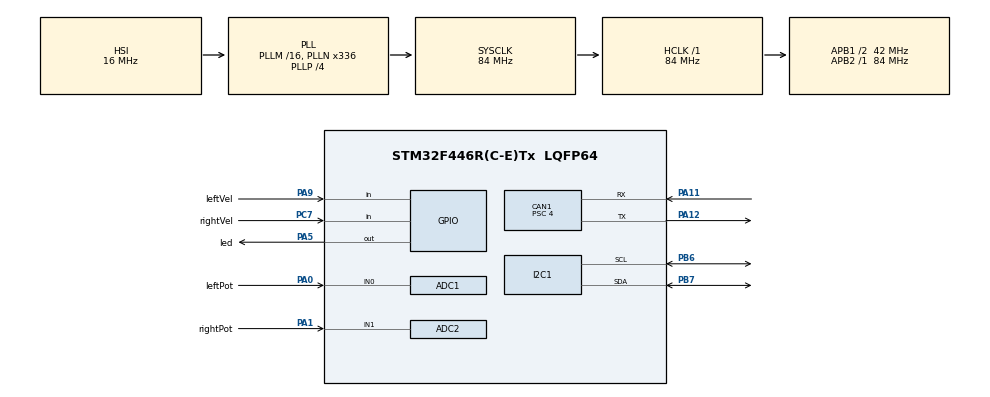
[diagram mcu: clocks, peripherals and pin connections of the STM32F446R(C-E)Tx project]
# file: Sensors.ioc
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ADC1.Channel-0\#ChannelRegularConversion=ADC_CHANNEL_0
ADC1.NbrOfConversionFlag=1
ADC1.Rank-0\#ChannelRegularConversion=1
ADC1.SamplingTime-0\#ChannelRegularConversion=ADC_SAMPLETIME_3CYCLES
ADC1.master=1
ADC2.Channel-0\#ChannelRegularConversion=ADC_CHANNEL_1
ADC2.NbrOfConversionFlag=1
ADC2.Rank-0\#ChannelRegularConversion=1
ADC2.SamplingTime-0\#ChannelRegularConversion=ADC_SAMPLETIME_3CYCLES
CAN1.BS1=CAN_BS1_16TQ
CAN1.BS2=CAN_BS2_4TQ
CAN1.CalculateBaudRate=500000
CAN1.CalculateTimeBit=2000
CAN1.CalculateTimeQuantum=95.23809523809524
CAN1.Prescaler=4
I2C1.I2C_Mode=I2C_Fast
Mcu.Family=STM32F4
Mcu.Name=STM32F446R(C-E)Tx
Mcu.Package=LQFP64
NVIC.CAN1_RX0_IRQn=true\:0\:0\:false\:false\:true\:true\:true\:true
NVIC.PriorityGroup=NVIC_PRIORITYGROUP_0
PA0-WKUP.GPIO_Label=leftPot
PA0-WKUP.Signal=ADCx_IN0
PA1.GPIO_Label=rightPot
PA1.Signal=ADCx_IN1
PA11.Mode=CAN_Activate
PA11.Signal=CAN1_RX
PA12.Mode=CAN_Activate
PA12.Signal=CAN1_TX
PA5.GPIO_Label=led
PA5.Signal=GPIO_Output
PA9.GPIO_Label=leftVel
PA9.Signal=GPIO_Input
PB6.GPIO_Pu=GPIO_PULLUP
PB6.Mode=I2C
PB6.Signal=I2C1_SCL
PB7.GPIO_Pu=GPIO_PULLUP
PB7.Mode=I2C
PB7.Signal=I2C1_SDA
PC7.GPIO_Label=rightVel
PC7.Signal=GPIO_Input
ProjectManager.HeapSize=0x200
ProjectManager.StackSize=0x400
ProjectManager.TargetToolchain=STM32CubeIDE
RCC.48MHZClocksFreq_Value=84000000
RCC.AHBFreq_Value=84000000
RCC.APB1CLKDivider=RCC_HCLK_DIV2
RCC.APB1Freq_Value=42000000
RCC.APB1TimFreq_Value=84000000
RCC.APB2Freq_Value=84000000
RCC.APB2TimFreq_Value=84000000
RCC.CortexFreq_Value=84000000
RCC.FLatency-AdvancedSettings=FLASH_LATENCY_2
RCC.HCLKFreq_Value=84000000
RCC.HSE_VALUE=8000000
RCC.HSI_VALUE=16000000
RCC.PLLN=336
RCC.PLLP=RCC_PLLP_DIV4
RCC.SYSCLKFreq_VALUE=84000000
RCC.SYSCLKSource=RCC_SYSCLKSOURCE_PLLCLK
RCC.USBFreq_Value=168000000
RCC.VCOOutputFreq_Value=336000000
SH.ADCx_IN0.0=ADC1_IN0,IN0
SH.ADCx_IN1.0=ADC2_IN1,IN1
board=NUCLEO-F446RE

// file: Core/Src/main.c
/* USER CODE BEGIN Header */
/**
  ******************************************************************************
  * @file           : main.c
  * @brief          : Main program body
  ******************************************************************************
  * @attention
  *
  * Copyright (c) 2023 STMicroelectronics.
  * All rights reserved.
  *
  * This software is licensed under terms that can be found in the LICENSE file
  * in the root directory of this software component.
  * If no LICENSE file comes with this software, it is provided AS-IS.
  *
  ******************************************************************************
  */
/* USER CODE END Header */
#include "main.h"

/* USER CODE BEGIN PD */
/*I2C address of Gyro Module*/
#define gyroAddr 0b11010000

/*NB Low First Byte in received data*/

/*CAN IDs*/
#define BUFFER_BLOCK1	0x101
#define BUFFER_BLOCK2	0x102
#define BUFFER_BLOCK3	0x103

#define GPS_BLOCK1		0x104
#define GPS_BLOCK2		0x105
#define GPS_BLOCK3		0x106

#define GYRO_BLOCK1		0x107
#define GYRO_BLOCK2		0x108

#define FWHEEL_BLOCK1	0x109
#define FWHEEL_BLOCK2	0x110

#define RWHEEL_BLOCK1	0x111
#define RWHEEL_BLOCK2	0x112

/* USER CODE END PD */

ADC_HandleTypeDef hadc1;
ADC_HandleTypeDef hadc2;

CAN_HandleTypeDef hcan1;

I2C_HandleTypeDef hi2c1;

/* USER CODE BEGIN PV */
//GYRO variables
uint8_t accelData[6];
uint8_t gyroData[6];

//CAN variables
CAN_RxHeaderTypeDef receiveHeader;
CAN_TxHeaderTypeDef transmitHeader;
CAN_FilterTypeDef sFilter;
CAN_FilterTypeDef sFilter2;
uint8_t can_received_data[8];
uint8_t can_tx_payload[8];
uint32_t mailbox;

//Pot variables
uint16_t left_pot=0;
uint16_t right_pot=0;

//Steering Encoder
uint8_t steeringEncoder=0;				//TO-DO

//TIMING variables
uint32_t currTime = 0;
uint32_t lastTime = 0;

//Vel variables
uint16_t left_count=0;
uint8_t left_status=0;
uint16_t right_count=0;
uint8_t right_status=0;
uint8_t deltaT=0;
uint32_t startTime=0;
uint8_t resetStartTime=0;
/* USER CODE END PV */

void SystemClock_Config(void);
static void MX_GPIO_Init(void);
static void MX_CAN1_Init(void);
static void MX_ADC1_Init(void);
static void MX_ADC2_Init(void);
static void MX_I2C1_Init(void);
/* USER CODE BEGIN PFP */
void filterSettings(void);
/* USER CODE END PFP */

int main(void)
{

  /* MCU Configuration--------------------------------------------------------*/

  /* Reset of all peripherals, Initializes the Flash interface and the Systick. */
  HAL_Init();

  /* Configure the system clock */
  SystemClock_Config();

  /* Initialize all configured peripherals */
  MX_GPIO_Init();
  MX_CAN1_Init();
  MX_ADC1_Init();
  MX_ADC2_Init();
  MX_I2C1_Init();
  /* USER CODE BEGIN 2 */

  /*Set Filter*/
    filterSettings();

    HAL_CAN_Start(&hcan1);

    /*Enable interrupt*/
    HAL_CAN_ActivateNotification(&hcan1,CAN_IT_RX_FIFO0_MSG_PENDING);

    /*Set transmitHeader fields*/
    transmitHeader.StdId=FWHEEL_BLOCK1;
    transmitHeader.ExtId = 0x01;
    transmitHeader.IDE = CAN_ID_STD;
    transmitHeader.RTR = CAN_RTR_DATA;
    transmitHeader.TransmitGlobalTime = DISABLE;

    /*I2C Settings*/
    if(HAL_I2C_IsDeviceReady(&hi2c1, gyroAddr, 10, 1000)==HAL_OK); //hi2c, DevAddress, Trials, Timeout

    uint8_t accelReg = 0x3B;
    uint8_t gyroReg = 0x43;

    /*Wake up module*/
    uint8_t wakeUp[2];
    wakeUp[0] = 0x6B;
    wakeUp[1] = 0x00;

    /*setup accel scale*/
    uint8_t setAccelReg[2];
    setAccelReg[0]=0x1C;
    setAccelReg[1]=0b00001000;		//set accel to 4g

    if(HAL_I2C_Master_Transmit(&hi2c1, gyroAddr, wakeUp, sizeof(wakeUp), 1000)!=HAL_OK);
    if(HAL_I2C_Master_Transmit(&hi2c1, gyroAddr, setAccelReg, sizeof(setAccelReg), 1000)!=HAL_OK);

    currTime=HAL_GetTick();
  /* USER CODE END 2 */

  /* Infinite loop */
  /* USER CODE BEGIN WHILE */
  while (1)
  {
	  /*Read Pot data every 10ms*/
	  	  if((currTime - lastTime) >= 10){
	  			lastTime = currTime;

	  			//ADC ROUTINE
	  			HAL_ADC_Start(&hadc1);
	  			HAL_ADC_Start(&hadc2);

	  			left_pot=HAL_ADC_GetValue(&hadc1);
	  			right_pot=HAL_ADC_GetValue(&hadc2);

	  			HAL_ADC_Stop(&hadc1);
	  			HAL_ADC_Stop(&hadc2);

	              /*GYROSCOPE*/
	  			//Request data from register 0x3B (Accel)
	  			if(HAL_I2C_Master_Transmit(&hi2c1, gyroAddr, &accelReg, 1, 10)!=HAL_OK);
	  			if(HAL_I2C_Master_Receive(&hi2c1, gyroAddr, accelData, 6, 10)!=HAL_OK);

	  			//Request data from register 0x43 (Gyro)
	  			if(HAL_I2C_Master_Transmit(&hi2c1, gyroAddr, &gyroReg, 1, 10)!=HAL_OK);
	  			if(HAL_I2C_Master_Receive(&hi2c1, gyroAddr, gyroData, 6, 10)!=HAL_OK);
	  	  }

	  	  currTime=HAL_GetTick();

	  	  /*Time period to consider in the vel calculation*/
	  	  deltaT=currTime-startTime;

	  	  if(resetStartTime){
	  		  resetStartTime = 0;
	  		  startTime = currTime;
	  	  }

	  	  /*
	  	   * TO-DO: ENCODER VOLANTE
	  	   * */

    /* USER CODE END WHILE */

  }
}

void SystemClock_Config(void)
{
  RCC_OscInitTypeDef RCC_OscInitStruct = {0};
  RCC_ClkInitTypeDef RCC_ClkInitStruct = {0};

  /** Configure the main internal regulator output voltage
  */
  __HAL_RCC_PWR_CLK_ENABLE();
  __HAL_PWR_VOLTAGESCALING_CONFIG(PWR_REGULATOR_VOLTAGE_SCALE3);

  /** Initializes the RCC Oscillators according to the specified parameters
  * in the RCC_OscInitTypeDef structure.
  */
  RCC_OscInitStruct.OscillatorType = RCC_OSCILLATORTYPE_HSI;
  RCC_OscInitStruct.HSIState = RCC_HSI_ON;
  RCC_OscInitStruct.HSICalibrationValue = RCC_HSICALIBRATION_DEFAULT;
  RCC_OscInitStruct.PLL.PLLState = RCC_PLL_ON;
  RCC_OscInitStruct.PLL.PLLSource = RCC_PLLSOURCE_HSI;
  RCC_OscInitStruct.PLL.PLLM = 16;
  RCC_OscInitStruct.PLL.PLLN = 336;
  RCC_OscInitStruct.PLL.PLLP = RCC_PLLP_DIV4;
  RCC_OscInitStruct.PLL.PLLQ = 2;
  RCC_OscInitStruct.PLL.PLLR = 2;
  if (HAL_RCC_OscConfig(&RCC_OscInitStruct) != HAL_OK)
  {
    Error_Handler();
  }

  /** Initializes the CPU, AHB and APB buses clocks
  */
  RCC_ClkInitStruct.ClockType = RCC_CLOCKTYPE_HCLK|RCC_CLOCKTYPE_SYSCLK
                              |RCC_CLOCKTYPE_PCLK1|RCC_CLOCKTYPE_PCLK2;
  RCC_ClkInitStruct.SYSCLKSource = RCC_SYSCLKSOURCE_PLLCLK;
  RCC_ClkInitStruct.AHBCLKDivider = RCC_SYSCLK_DIV1;
  RCC_ClkInitStruct.APB1CLKDivider = RCC_HCLK_DIV2;
  RCC_ClkInitStruct.APB2CLKDivider = RCC_HCLK_DIV1;

  if (HAL_RCC_ClockConfig(&RCC_ClkInitStruct, FLASH_LATENCY_2) != HAL_OK)
  {
    Error_Handler();
  }
}

static void MX_ADC1_Init(void)
{

  ADC_ChannelConfTypeDef sConfig = {0};

  /** Configure the global features of the ADC (Clock, Resolution, Data Alignment and number of conversion)
  */
  hadc1.Instance = ADC1;
  hadc1.Init.ClockPrescaler = ADC_CLOCK_SYNC_PCLK_DIV4;
  hadc1.Init.Resolution = ADC_RESOLUTION_12B;
  hadc1.Init.ScanConvMode = DISABLE;
  hadc1.Init.ContinuousConvMode = DISABLE;
  hadc1.Init.DiscontinuousConvMode = DISABLE;
  hadc1.Init.ExternalTrigConvEdge = ADC_EXTERNALTRIGCONVEDGE_NONE;
  hadc1.Init.ExternalTrigConv = ADC_SOFTWARE_START;
  hadc1.Init.DataAlign = ADC_DATAALIGN_RIGHT;
  hadc1.Init.NbrOfConversion = 1;
  hadc1.Init.DMAContinuousRequests = DISABLE;
  hadc1.Init.EOCSelection = ADC_EOC_SINGLE_CONV;
  if (HAL_ADC_Init(&hadc1) != HAL_OK)
  {
    Error_Handler();
  }

  /** Configure for the selected ADC regular channel its corresponding rank in the sequencer and its sample time.
  */
  sConfig.Channel = ADC_CHANNEL_0;
  sConfig.Rank = 1;
  sConfig.SamplingTime = ADC_SAMPLETIME_3CYCLES;
  if (HAL_ADC_ConfigChannel(&hadc1, &sConfig) != HAL_OK)
  {
    Error_Handler();
  }

}

static void MX_ADC2_Init(void)
{

  ADC_ChannelConfTypeDef sConfig = {0};

  /** Configure the global features of the ADC (Clock, Resolution, Data Alignment and number of conversion)
  */
  hadc2.Instance = ADC2;
  hadc2.Init.ClockPrescaler = ADC_CLOCK_SYNC_PCLK_DIV4;
  hadc2.Init.Resolution = ADC_RESOLUTION_12B;
  hadc2.Init.ScanConvMode = DISABLE;
  hadc2.Init.ContinuousConvMode = DISABLE;
  hadc2.Init.DiscontinuousConvMode = DISABLE;
  hadc2.Init.ExternalTrigConvEdge = ADC_EXTERNALTRIGCONVEDGE_NONE;
  hadc2.Init.ExternalTrigConv = ADC_SOFTWARE_START;
  hadc2.Init.DataAlign = ADC_DATAALIGN_RIGHT;
  hadc2.Init.NbrOfConversion = 1;
  hadc2.Init.DMAContinuousRequests = DISABLE;
  hadc2.Init.EOCSelection = ADC_EOC_SINGLE_CONV;
  if (HAL_ADC_Init(&hadc2) != HAL_OK)
  {
    Error_Handler();
  }

  /** Configure for the selected ADC regular channel its corresponding rank in the sequencer and its sample time.
  */
  sConfig.Channel = ADC_CHANNEL_1;
  sConfig.Rank = 1;
  sConfig.SamplingTime = ADC_SAMPLETIME_3CYCLES;
  if (HAL_ADC_ConfigChannel(&hadc2, &sConfig) != HAL_OK)
  {
    Error_Handler();
  }

}

static void MX_CAN1_Init(void)
{

  hcan1.Instance = CAN1;
  hcan1.Init.Prescaler = 4;
  hcan1.Init.Mode = CAN_MODE_NORMAL;
  hcan1.Init.SyncJumpWidth = CAN_SJW_1TQ;
  hcan1.Init.TimeSeg1 = CAN_BS1_16TQ;
  hcan1.Init.TimeSeg2 = CAN_BS2_4TQ;
  hcan1.Init.TimeTriggeredMode = DISABLE;
  hcan1.Init.AutoBusOff = DISABLE;
  hcan1.Init.AutoWakeUp = DISABLE;
  hcan1.Init.AutoRetransmission = DISABLE;
  hcan1.Init.ReceiveFifoLocked = DISABLE;
  hcan1.Init.TransmitFifoPriority = DISABLE;
  if (HAL_CAN_Init(&hcan1) != HAL_OK)
  {
    Error_Handler();
  }

}

static void MX_I2C1_Init(void)
{

  hi2c1.Instance = I2C1;
  hi2c1.Init.ClockSpeed = 400000;
  hi2c1.Init.DutyCycle = I2C_DUTYCYCLE_2;
  hi2c1.Init.OwnAddress1 = 0;
  hi2c1.Init.AddressingMode = I2C_ADDRESSINGMODE_7BIT;
  hi2c1.Init.DualAddressMode = I2C_DUALADDRESS_DISABLE;
  hi2c1.Init.OwnAddress2 = 0;
  hi2c1.Init.GeneralCallMode = I2C_GENERALCALL_DISABLE;
  hi2c1.Init.NoStretchMode = I2C_NOSTRETCH_DISABLE;
  if (HAL_I2C_Init(&hi2c1) != HAL_OK)
  {
    Error_Handler();
  }

}

static void MX_GPIO_Init(void)
{
  GPIO_InitTypeDef GPIO_InitStruct = {0};

  /* GPIO Ports Clock Enable */
  __HAL_RCC_GPIOA_CLK_ENABLE();
  __HAL_RCC_GPIOC_CLK_ENABLE();
  __HAL_RCC_GPIOB_CLK_ENABLE();

  /*Configure GPIO pin Output Level */
  HAL_GPIO_WritePin(led_GPIO_Port, led_Pin, GPIO_PIN_RESET);

  /*Configure GPIO pin : led_Pin */
  GPIO_InitStruct.Pin = led_Pin;
  GPIO_InitStruct.Mode = GPIO_MODE_OUTPUT_PP;
  GPIO_InitStruct.Pull = GPIO_NOPULL;
  GPIO_InitStruct.Speed = GPIO_SPEED_FREQ_LOW;
  HAL_GPIO_Init(led_GPIO_Port, &GPIO_InitStruct);

  /*Configure GPIO pin : rightVel_Pin */
  GPIO_InitStruct.Pin = rightVel_Pin;
  GPIO_InitStruct.Mode = GPIO_MODE_INPUT;
  GPIO_InitStruct.Pull = GPIO_NOPULL;
  HAL_GPIO_Init(rightVel_GPIO_Port, &GPIO_InitStruct);

  /*Configure GPIO pin : leftVel_Pin */
  GPIO_InitStruct.Pin = leftVel_Pin;
  GPIO_InitStruct.Mode = GPIO_MODE_INPUT;
  GPIO_InitStruct.Pull = GPIO_NOPULL;
  HAL_GPIO_Init(leftVel_GPIO_Port, &GPIO_InitStruct);

}

/* USER CODE BEGIN 4 */

void filterSettings(void){
	sFilter.FilterBank = 0;
	sFilter.FilterFIFOAssignment = CAN_FILTER_FIFO0;
	sFilter.FilterIdHigh = 0;
	sFilter.FilterIdLow = 0;
	sFilter.FilterMaskIdHigh = 0;
	sFilter.FilterMaskIdLow = 0;
	sFilter.FilterMode = CAN_FILTERMODE_IDMASK;
	sFilter.FilterScale = CAN_FILTERSCALE_32BIT;
	sFilter.FilterActivation = ENABLE;
	sFilter.SlaveStartFilterBank = 14;
	HAL_CAN_ConfigFilter(&hcan1, &sFilter);
}

/*CAN Communication*/
void HAL_CAN_RxFifo0MsgPendingCallback(CAN_HandleTypeDef *hcan){
	if(HAL_CAN_GetRxMessage(hcan, CAN_RX_FIFO0, &receiveHeader, can_received_data) != HAL_OK){
		/* ERROR HANDLER */
	}else{

		//SEND POT LEFT DATA      TODO: unire right e left pot
		if(receiveHeader.StdId==FWHEEL_BLOCK1 && receiveHeader.IDE==CAN_ID_STD && receiveHeader.RTR==CAN_RTR_REMOTE){
			transmitHeader.StdId=FWHEEL_BLOCK1;
			transmitHeader.DLC=4;
			can_tx_payload[0]=left_pot&0xFF;
			can_tx_payload[1]=right_pot&0xFF;
			can_tx_payload[2]=(left_pot>>8)|((right_pot>>4)&0xF0);
			can_tx_payload[3]=ADC_GET_RESOLUTION(&hadc1);
			HAL_CAN_AddTxMessage(&hcan1, &transmitHeader, can_tx_payload, &mailbox);
		}

        /*SEND POT RIGHT DATA
		if(receiveHeader.StdId==RWHEEL_BLOCK1 && receiveHeader.IDE==CAN_ID_STD && receiveHeader.RTR==CAN_RTR_REMOTE){
			transmitHeader.StdId=RWHEEL_BLOCK1;
			transmitHeader.DLC=4;
			can_tx_payload[0]=left_pot&0xFF;
			can_tx_payload[1]=right_pot&0xFF;
			can_tx_payload[2]=(left_pot>>8)|((right_pot>>4)&0xF0);
			can_tx_payload[3]=ADC_GET_RESOLUTION(&hadc1);

			HAL_CAN_AddTxMessage(&hcan1, &transmitHeader, can_tx_payload, &mailbox);
		}*/

		//SEND VEL DATA + STEERING_ENC
		else if(receiveHeader.StdId==FWHEEL_BLOCK2 && receiveHeader.IDE==CAN_ID_STD && receiveHeader.RTR==CAN_RTR_REMOTE){
			transmitHeader.StdId=FWHEEL_BLOCK2;
			transmitHeader.DLC=5;

			can_tx_payload[0]=left_count;
			can_tx_payload[1]=right_count;
			can_tx_payload[2]=(left_count>>8)|((right_count>>4)&0xF0);
			can_tx_payload[3]=deltaT;
			can_tx_payload[4]=steeringEncoder;

			left_count=0;
			right_count=0;
			resetStartTime=1;

			HAL_CAN_AddTxMessage(&hcan1, &transmitHeader, can_tx_payload, &mailbox);
		}else{
			/*DO NOTHING*/
		}

        //SEND ACCEL DATA
		if(receiveHeader.StdId==GYRO_BLOCK1 && receiveHeader.IDE==CAN_ID_STD && receiveHeader.RTR==CAN_RTR_REMOTE){
			transmitHeader.StdId=GYRO_BLOCK1;
			transmitHeader.DLC=6;

			can_tx_payload[0]=accelData[0];
			can_tx_payload[1]=accelData[1];
			can_tx_payload[2]=accelData[2];
			can_tx_payload[3]=accelData[3];
			can_tx_payload[4]=accelData[4];
			can_tx_payload[5]=accelData[5];

			HAL_CAN_AddTxMessage(&hcan1, &transmitHeader, can_tx_payload, &mailbox);
		}

		//SEND GYRO DATA
		else if(receiveHeader.StdId==GYRO_BLOCK2 && receiveHeader.IDE==CAN_ID_STD && receiveHeader.RTR==CAN_RTR_REMOTE){
			transmitHeader.StdId=GYRO_BLOCK2;
			transmitHeader.DLC=6;

			can_tx_payload[0]=gyroData[0];
			can_tx_payload[1]=gyroData[1];
			can_tx_payload[2]=gyroData[2];
			can_tx_payload[3]=gyroData[3];
			can_tx_payload[4]=gyroData[4];
			can_tx_payload[5]=gyroData[5];

			HAL_CAN_AddTxMessage(&hcan1, &transmitHeader, can_tx_payload, &mailbox);
		}else{
			/*DO NOTHING*/
		}
	}
}

/* USER CODE END 4 */

void Error_Handler(void)
{
  __disable_irq();
  while (1)
  {
  }
}
